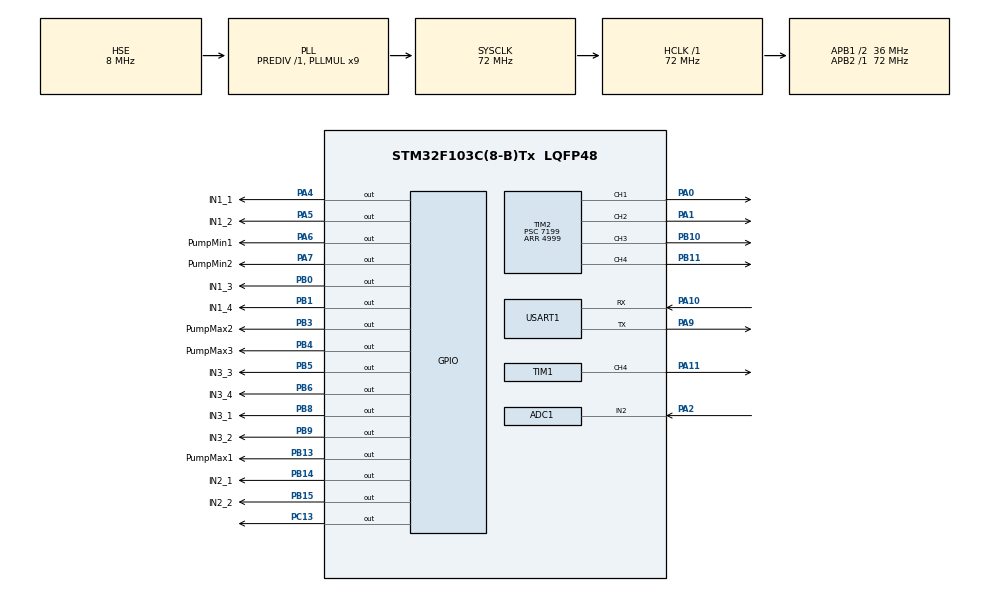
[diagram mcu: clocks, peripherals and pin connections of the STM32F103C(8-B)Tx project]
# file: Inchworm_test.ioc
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ADC1.Channel-0\#ChannelRegularConversion=ADC_CHANNEL_2
ADC1.ContinuousConvMode=ENABLE
ADC1.EnableInjectedConversion=ENABLE
ADC1.InjNumberOfConversion=1
ADC1.NbrOfConversionFlag=1
ADC1.Rank-0\#ChannelRegularConversion=1
ADC1.SamplingTime-0\#ChannelRegularConversion=ADC_SAMPLETIME_1CYCLE_5
ADC1.master=1
Mcu.Family=STM32F1
Mcu.Name=STM32F103C(8-B)Tx
Mcu.Package=LQFP48
NVIC.ADC1_2_IRQn=true\:0\:0\:false\:false\:true\:true\:true\:true
NVIC.PriorityGroup=NVIC_PRIORITYGROUP_4
NVIC.USART1_IRQn=true\:0\:0\:false\:false\:true\:true\:true\:true
PA0-WKUP.Signal=S_TIM2_CH1_ETR
PA1.Signal=S_TIM2_CH2
PA10.Mode=Asynchronous
PA10.Signal=USART1_RX
PA11.Signal=S_TIM1_CH4
PA13.Mode=Serial_Wire
PA13.Signal=SYS_JTMS-SWDIO
PA14.Mode=Serial_Wire
PA14.Signal=SYS_JTCK-SWCLK
PA2.Signal=ADCx_IN2
PA4.GPIO_Label=IN1_1
PA4.Signal=GPIO_Output
PA5.GPIO_Label=IN1_2
PA5.Signal=GPIO_Output
PA6.GPIO_Label=PumpMin1
PA6.PinState=GPIO_PIN_RESET
PA6.Signal=GPIO_Output
PA7.GPIO_Label=PumpMin2
PA7.PinState=GPIO_PIN_RESET
PA7.Signal=GPIO_Output
PA9.Mode=Asynchronous
PA9.Signal=USART1_TX
PB0.GPIO_Label=IN1_3
PB0.Signal=GPIO_Output
PB1.GPIO_Label=IN1_4
PB1.Signal=GPIO_Output
PB10.Signal=S_TIM2_CH3
PB11.Signal=S_TIM2_CH4
PB13.GPIO_Label=PumpMax1
PB13.PinState=GPIO_PIN_RESET
PB13.Signal=GPIO_Output
PB14.GPIO_Label=IN2_1
PB14.Signal=GPIO_Output
PB15.GPIO_Label=IN2_2
PB15.Signal=GPIO_Output
PB3.GPIO_Label=PumpMax2
PB3.PinState=GPIO_PIN_RESET
PB3.Signal=GPIO_Output
PB4.GPIO_Label=PumpMax3
PB4.PinState=GPIO_PIN_RESET
PB4.Signal=GPIO_Output
PB5.GPIO_Label=IN3_3
PB5.Signal=GPIO_Output
PB6.GPIO_Label=IN3_4
PB6.Signal=GPIO_Output
PB8.GPIO_Label=IN3_1
PB8.Signal=GPIO_Output
PB9.GPIO_Label=IN3_2
PB9.Signal=GPIO_Output
PC13-TAMPER-RTC.Signal=GPIO_Output
PD0-OSC_IN.Mode=HSE-External-Oscillator
PD0-OSC_IN.Signal=RCC_OSC_IN
PD1-OSC_OUT.Mode=HSE-External-Oscillator
PD1-OSC_OUT.Signal=RCC_OSC_OUT
ProjectManager.HeapSize=0x200
ProjectManager.StackSize=0x400
ProjectManager.TargetToolchain=MDK-ARM V5.32
RCC.ADCPresc=RCC_ADCPCLK2_DIV6
RCC.AHBFreq_Value=72000000
RCC.APB1CLKDivider=RCC_HCLK_DIV2
RCC.APB1Freq_Value=36000000
RCC.APB1TimFreq_Value=72000000
RCC.APB2Freq_Value=72000000
RCC.APB2TimFreq_Value=72000000
RCC.HCLKFreq_Value=72000000
RCC.PLLMUL=RCC_PLL_MUL9
RCC.PLLSourceVirtual=RCC_PLLSOURCE_HSE
RCC.SYSCLKFreq_VALUE=72000000
RCC.SYSCLKSource=RCC_SYSCLKSOURCE_PLLCLK
RCC.USBFreq_Value=72000000
SH.ADCx_IN2.0=ADC1_IN2,IN2
SH.S_TIM1_CH4.0=TIM1_CH4,PWM Generation4 CH4
SH.S_TIM2_CH1_ETR.0=TIM2_CH1,PWM Generation1 CH1
SH.S_TIM2_CH2.0=TIM2_CH2,PWM Generation2 CH2
SH.S_TIM2_CH3.0=TIM2_CH3,PWM Generation3 CH3
SH.S_TIM2_CH4.0=TIM2_CH4,PWM Generation4 CH4
TIM1.AutoReloadPreload=TIM_AUTORELOAD_PRELOAD_ENABLE
TIM1.Channel-PWM\ Generation4\ CH4=TIM_CHANNEL_4
TIM1.Period=4999
TIM1.Prescaler=7199
TIM2.AutoReloadPreload=TIM_AUTORELOAD_PRELOAD_ENABLE
TIM2.Channel-PWM\ Generation1\ CH1=TIM_CHANNEL_1
TIM2.Channel-PWM\ Generation2\ CH2=TIM_CHANNEL_2
TIM2.Channel-PWM\ Generation3\ CH3=TIM_CHANNEL_3
TIM2.Channel-PWM\ Generation4\ CH4=TIM_CHANNEL_4
TIM2.Period=4999
TIM2.Prescaler=7199
USART1.VirtualMode=VM_ASYNC
VP_TIM1_VS_ClockSourceINT.Mode=Internal
VP_TIM2_VS_ClockSourceINT.Mode=Internal
board=custom

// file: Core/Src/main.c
/* USER CODE BEGIN Header */
/**
 ******************************************************************************
 * @file           : main.c
 * @brief          : Main program body
 ******************************************************************************
 * @attention
 *
 * Copyright (c) 2024 STMicroelectronics.
 * All rights reserved.
 *
 * This software is licensed under terms that can be found in the LICENSE file
 * in the root directory of this software component.
 * If no LICENSE file comes with this software, it is provided AS-IS.
 *
 ******************************************************************************
 */
/* USER CODE END Header */
#include "main.h"
#include "adc.h"
#include "tim.h"
#include "usart.h"
#include "gpio.h"

/* USER CODE BEGIN Includes */
#include "relay.h"
#include "motor.h"
#include "system.h"
/* USER CODE END Includes */

/* USER CODE BEGIN PTD */
extern UART_HandleTypeDef huart1;
uint8_t RX_BUF[64] = {0}; // 缓存数组
uint8_t RX_count = 0;     // 计数位
uint8_t RX_temp;          // 缓存字符
uint8_t mode = 0;
/* USER CODE END PTD */

void SystemClock_Config(void);

int main(void)
{

  /* MCU Configuration--------------------------------------------------------*/

  /* Reset of all peripherals, Initializes the Flash interface and the Systick. */
  HAL_Init();

  /* Configure the system clock */
  SystemClock_Config();

  /* Initialize all configured peripherals */
  MX_GPIO_Init();
  MX_USART1_UART_Init();
  MX_TIM1_Init();
  MX_TIM2_Init();
  MX_ADC1_Init();
  /* USER CODE BEGIN 2 */
  HAL_UART_Receive_IT(&huart1, &RX_temp, 1);
  HAL_ADCEx_Calibration_Start(&hadc1); // AD校准
  HAL_TIM_PWM_Start(&htim2, TIM_CHANNEL_1);
  HAL_TIM_PWM_Start(&htim2, TIM_CHANNEL_2);
  HAL_TIM_PWM_Start(&htim2, TIM_CHANNEL_3);
  HAL_TIM_PWM_Start(&htim2, TIM_CHANNEL_4);

  HAL_TIM_PWM_Start(&htim1, TIM_CHANNEL_4);
  /* USER CODE END 2 */

  /* Infinite loop */
  /* USER CODE BEGIN WHILE */
  while (1)
  {
    Test_Li(test_which_mode);
    /* USER CODE END WHILE */

  }
}

void SystemClock_Config(void)
{
  RCC_OscInitTypeDef RCC_OscInitStruct = {0};
  RCC_ClkInitTypeDef RCC_ClkInitStruct = {0};
  RCC_PeriphCLKInitTypeDef PeriphClkInit = {0};

  /** Initializes the RCC Oscillators according to the specified parameters
   * in the RCC_OscInitTypeDef structure.
   */
  RCC_OscInitStruct.OscillatorType = RCC_OSCILLATORTYPE_HSE;
  RCC_OscInitStruct.HSEState = RCC_HSE_ON;
  RCC_OscInitStruct.HSEPredivValue = RCC_HSE_PREDIV_DIV1;
  RCC_OscInitStruct.HSIState = RCC_HSI_ON;
  RCC_OscInitStruct.PLL.PLLState = RCC_PLL_ON;
  RCC_OscInitStruct.PLL.PLLSource = RCC_PLLSOURCE_HSE;
  RCC_OscInitStruct.PLL.PLLMUL = RCC_PLL_MUL9;
  if (HAL_RCC_OscConfig(&RCC_OscInitStruct) != HAL_OK)
  {
    Error_Handler();
  }

  /** Initializes the CPU, AHB and APB buses clocks
   */
  RCC_ClkInitStruct.ClockType = RCC_CLOCKTYPE_HCLK | RCC_CLOCKTYPE_SYSCLK | RCC_CLOCKTYPE_PCLK1 | RCC_CLOCKTYPE_PCLK2;
  RCC_ClkInitStruct.SYSCLKSource = RCC_SYSCLKSOURCE_PLLCLK;
  RCC_ClkInitStruct.AHBCLKDivider = RCC_SYSCLK_DIV1;
  RCC_ClkInitStruct.APB1CLKDivider = RCC_HCLK_DIV2;
  RCC_ClkInitStruct.APB2CLKDivider = RCC_HCLK_DIV1;

  if (HAL_RCC_ClockConfig(&RCC_ClkInitStruct, FLASH_LATENCY_2) != HAL_OK)
  {
    Error_Handler();
  }
  PeriphClkInit.PeriphClockSelection = RCC_PERIPHCLK_ADC;
  PeriphClkInit.AdcClockSelection = RCC_ADCPCLK2_DIV6;
  if (HAL_RCCEx_PeriphCLKConfig(&PeriphClkInit) != HAL_OK)
  {
    Error_Handler();
  }
}

/* USER CODE BEGIN 4 */
void HAL_UART_RxCpltCallback(UART_HandleTypeDef *huart)
{
  if (huart == &huart1)
  {
    if (RX_temp == 0x30)
    {
      mode = 0;
    }
    else if (RX_temp == 0x31)
    {
      mode = 1;
    }
    else if (RX_temp == 0x32)
    {
      mode = 2;
    }
  }
  HAL_UART_Receive_IT(&huart1, &RX_temp, 1);
}
/* USER CODE END 4 */

void Error_Handler(void)
{
  __disable_irq();
  while (1)
  {
  }
}
